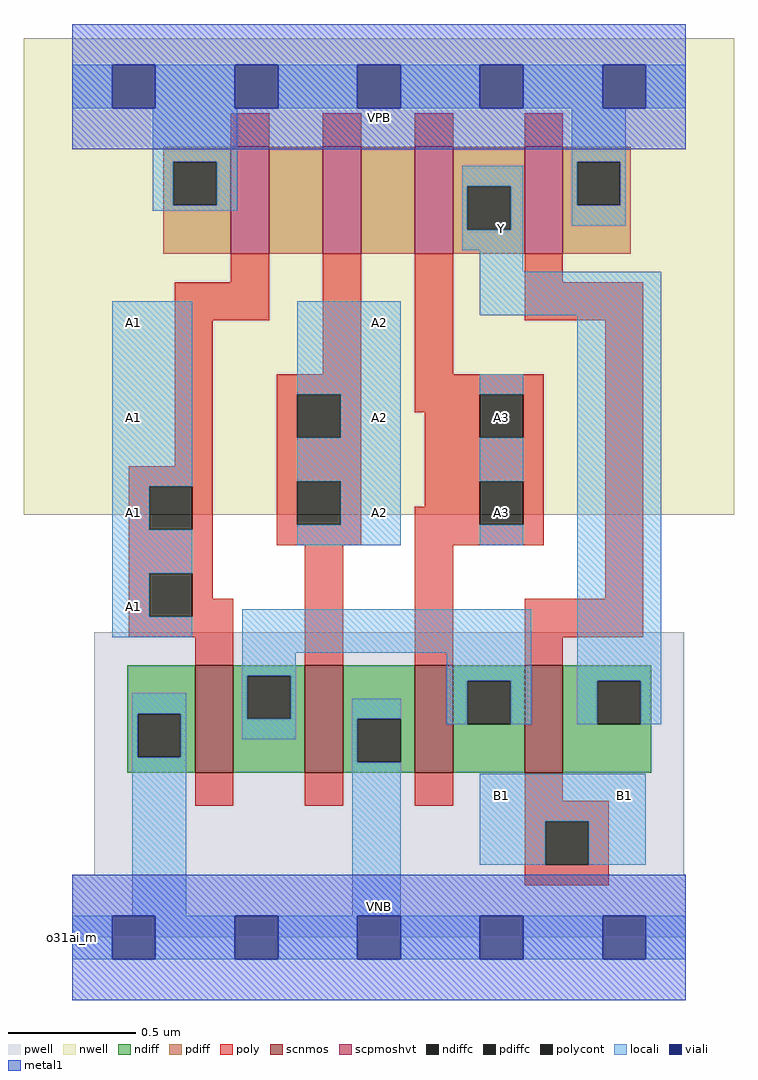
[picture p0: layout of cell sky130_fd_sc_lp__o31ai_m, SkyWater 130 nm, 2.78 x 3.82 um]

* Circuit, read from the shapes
.subckt sky130_fd_sc_lp__o31ai_m A1 A2 A3 B1 VGND VNB VPB VPWR Y
XM1 n1 A1 VGND VNB sky130_fd_pr__nfet_01v8 w=0.42 l=0.15
XM2 VGND A2 n1 VNB sky130_fd_pr__nfet_01v8 w=0.42 l=0.15
XM3 n1 A3 VGND VNB sky130_fd_pr__nfet_01v8 w=0.42 l=0.15
XM4 Y B1 n1 VNB sky130_fd_pr__nfet_01v8 w=0.42 l=0.15
XM5 n2 A1 VPWR VPB sky130_fd_pr__pfet_01v8_hvt w=0.42 l=0.15
XM6 n3 A2 n2 VPB sky130_fd_pr__pfet_01v8_hvt w=0.42 l=0.15
XM7 Y A3 n3 VPB sky130_fd_pr__pfet_01v8_hvt w=0.42 l=0.15
XM8 VPWR B1 Y VPB sky130_fd_pr__pfet_01v8_hvt w=0.42 l=0.15
.ends

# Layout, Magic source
magic
tech sky130A
magscale 1 2
<< nwell >>
rect -38 331 518 704
<< pwell >>
rect 17 49 479 239
rect 0 0 480 49
<< scnmos >>
rect 96 129 126 213
rect 182 129 212 213
rect 268 129 298 213
rect 354 129 384 213
<< scpmoshvt >>
rect 124 535 154 619
rect 196 535 226 619
rect 268 535 298 619
rect 354 535 384 619
<< ndiff >>
rect 43 175 96 213
rect 43 141 51 175
rect 85 141 96 175
rect 43 129 96 141
rect 126 205 182 213
rect 126 171 137 205
rect 171 171 182 205
rect 126 129 182 171
rect 212 171 268 213
rect 212 137 223 171
rect 257 137 268 171
rect 212 129 268 137
rect 298 201 354 213
rect 298 167 309 201
rect 343 167 354 201
rect 298 129 354 167
rect 384 201 453 213
rect 384 167 411 201
rect 445 167 453 201
rect 384 129 453 167
<< pdiff >>
rect 71 607 124 619
rect 71 573 79 607
rect 113 573 124 607
rect 71 535 124 573
rect 154 535 196 619
rect 226 535 268 619
rect 298 588 354 619
rect 298 554 309 588
rect 343 554 354 588
rect 298 535 354 554
rect 384 607 437 619
rect 384 573 395 607
rect 429 573 437 607
rect 384 535 437 573
<< ndiffc >>
rect 51 141 85 175
rect 137 171 171 205
rect 223 137 257 171
rect 309 167 343 201
rect 411 167 445 201
<< pdiffc >>
rect 79 573 113 607
rect 309 554 343 588
rect 395 573 429 607
<< poly >>
rect 124 619 154 645
rect 196 619 226 645
rect 268 619 298 645
rect 354 619 384 645
rect 124 513 154 535
rect 80 483 154 513
rect 80 369 110 483
rect 196 441 226 535
rect 44 353 110 369
rect 44 319 60 353
rect 94 319 110 353
rect 44 285 110 319
rect 160 425 226 441
rect 160 391 176 425
rect 210 391 226 425
rect 268 441 298 535
rect 354 513 384 535
rect 354 483 447 513
rect 268 425 369 441
rect 268 411 319 425
rect 160 357 226 391
rect 160 323 176 357
rect 210 323 226 357
rect 276 391 319 411
rect 353 391 369 425
rect 276 357 369 391
rect 276 337 319 357
rect 160 307 226 323
rect 268 323 319 337
rect 353 323 369 357
rect 268 307 369 323
rect 44 251 60 285
rect 94 265 110 285
rect 94 251 126 265
rect 44 235 126 251
rect 96 213 126 235
rect 182 213 212 307
rect 268 213 298 307
rect 417 265 447 483
rect 354 235 447 265
rect 354 213 384 235
rect 96 103 126 129
rect 182 103 212 129
rect 268 103 298 129
rect 354 107 384 129
rect 354 91 420 107
rect 354 57 370 91
rect 404 57 420 91
rect 354 41 420 57
<< polycont >>
rect 60 319 94 353
rect 176 391 210 425
rect 176 323 210 357
rect 319 391 353 425
rect 319 323 353 357
rect 60 251 94 285
rect 370 57 404 91
<< locali >>
rect 0 649 31 683
rect 65 649 127 683
rect 161 649 223 683
rect 257 649 319 683
rect 353 649 415 683
rect 449 649 480 683
rect 63 607 129 649
rect 63 573 79 607
rect 113 573 129 607
rect 391 607 433 649
rect 63 569 129 573
rect 305 588 353 604
rect 305 554 309 588
rect 343 554 353 588
rect 391 573 395 607
rect 429 573 433 607
rect 391 557 433 573
rect 305 538 353 554
rect 319 521 353 538
rect 31 353 94 498
rect 31 319 60 353
rect 31 285 94 319
rect 176 425 257 498
rect 319 487 461 521
rect 210 391 257 425
rect 176 357 257 391
rect 210 323 257 357
rect 176 307 257 323
rect 319 425 353 441
rect 319 357 353 391
rect 319 307 353 323
rect 31 251 60 285
rect 31 235 94 251
rect 133 223 359 257
rect 133 205 175 223
rect 47 175 89 191
rect 47 141 51 175
rect 85 141 89 175
rect 133 171 137 205
rect 171 171 175 205
rect 293 201 359 223
rect 133 155 175 171
rect 219 171 257 187
rect 47 17 89 141
rect 219 137 223 171
rect 293 167 309 201
rect 343 167 359 201
rect 395 201 461 487
rect 395 167 411 201
rect 445 167 461 201
rect 219 17 257 137
rect 319 91 449 128
rect 319 57 370 91
rect 404 57 449 91
rect 0 -17 31 17
rect 65 -17 127 17
rect 161 -17 223 17
rect 257 -17 319 17
rect 353 -17 415 17
rect 449 -17 480 17
<< viali >>
rect 31 649 65 683
rect 127 649 161 683
rect 223 649 257 683
rect 319 649 353 683
rect 415 649 449 683
rect 31 -17 65 17
rect 127 -17 161 17
rect 223 -17 257 17
rect 319 -17 353 17
rect 415 -17 449 17
<< metal1 >>
rect 0 683 480 715
rect 0 649 31 683
rect 65 649 127 683
rect 161 649 223 683
rect 257 649 319 683
rect 353 649 415 683
rect 449 649 480 683
rect 0 617 480 649
rect 0 17 480 49
rect 0 -17 31 17
rect 65 -17 127 17
rect 161 -17 223 17
rect 257 -17 319 17
rect 353 -17 415 17
rect 449 -17 480 17
rect 0 -49 480 -17
<< labels >>
flabel pwell s 0 0 480 49 0 FreeSans 200 0 0 0 VNB
port 6 nsew ground bidirectional
flabel nwell s 0 617 480 666 0 FreeSans 200 0 0 0 VPB
port 7 nsew power bidirectional
rlabel comment s 0 0 0 0 4 o31ai_m
flabel metal1 s 0 617 480 666 0 FreeSans 340 0 0 0 VPWR
port 8 nsew power bidirectional
flabel metal1 s 0 0 480 49 0 FreeSans 340 0 0 0 VGND
port 5 nsew ground bidirectional
flabel locali s 223 316 257 350 0 FreeSans 340 0 0 0 A2
port 2 nsew signal input
flabel locali s 223 390 257 424 0 FreeSans 340 0 0 0 A2
port 2 nsew signal input
flabel locali s 223 464 257 498 0 FreeSans 340 0 0 0 A2
port 2 nsew signal input
flabel locali s 319 316 353 350 0 FreeSans 340 0 0 0 A3
port 3 nsew signal input
flabel locali s 319 390 353 424 0 FreeSans 340 0 0 0 A3
port 3 nsew signal input
flabel locali s 319 538 353 572 0 FreeSans 340 0 0 0 Y
port 9 nsew signal output
flabel locali s 31 242 65 276 0 FreeSans 340 0 0 0 A1
port 1 nsew signal input
flabel locali s 31 316 65 350 0 FreeSans 340 0 0 0 A1
port 1 nsew signal input
flabel locali s 31 390 65 424 0 FreeSans 340 0 0 0 A1
port 1 nsew signal input
flabel locali s 31 464 65 498 0 FreeSans 340 0 0 0 A1
port 1 nsew signal input
flabel locali s 319 94 353 128 0 FreeSans 340 0 0 0 B1
port 4 nsew signal input
flabel locali s 415 94 449 128 0 FreeSans 340 0 0 0 B1
port 4 nsew signal input
<< properties >>
string LEFsite unit
string LEFclass CORE
string FIXED_BBOX 0 0 480 666
string GDS_FILE $PDKPATH/libs.ref/sky130_fd_sc_lp/gds/sky130_fd_sc_lp.gds
string LEFsymmetry X Y R90
string GDS_END 240608
string GDS_START 234762
<< end >>
